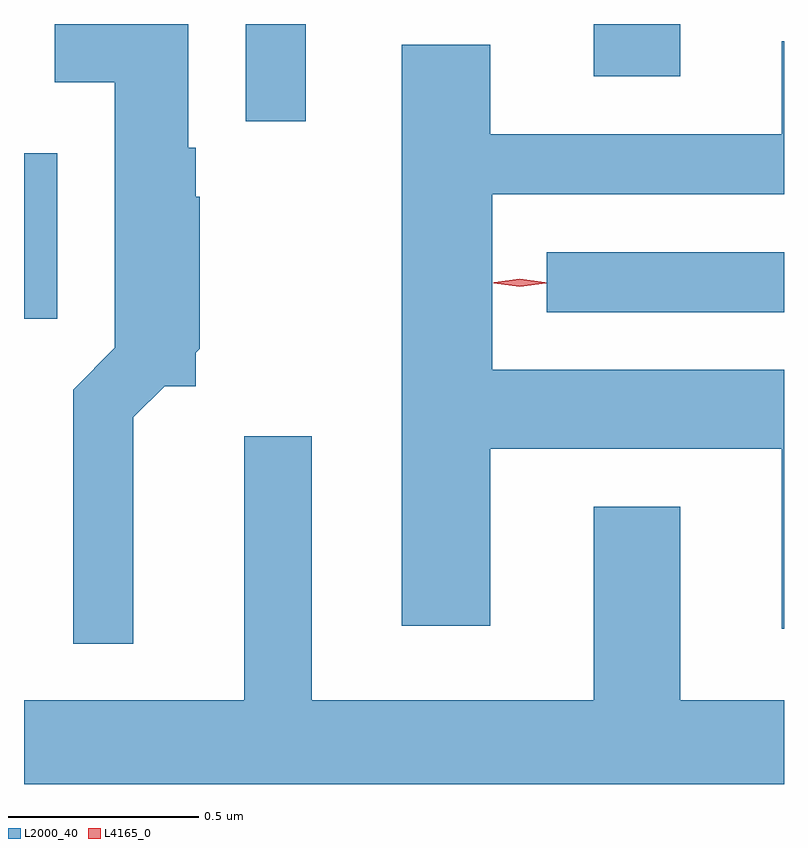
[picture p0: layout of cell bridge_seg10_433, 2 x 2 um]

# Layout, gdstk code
import gdstk
lib = gdstk.Library(unit=1e-6, precision=1e-09)
def R(c, l, rs):  # rectangles x0, y0, x1, y1
    for r in rs: c.add(gdstk.rectangle(r[:2], r[2:], *l))
def P(c, l, *ps):  # polygons
    for p in ps: c.add(gdstk.Polygon(p, *l))
L2000_40 = (2000, 40)
L4165_0 = (4165, 0)

bridge_seg10_433 = lib.new_cell('bridge_seg10_433')
R(bridge_seg10_433, L2000_40, [(1364.632,2110.748,1364.719,2111.184), (1366.008,2110.766,1366.632,2110.924), (1365.216,2111.268,1365.374,2111.524), (1366.131,2111.386,1366.359,2111.524)])
P(bridge_seg10_433, L2000_40, [(1364.919,2110.489),(1365.002,2110.571),(1365.084,2110.571),(1365.084,2110.659),(1365.094,2110.669),(1365.094,2111.07),(1365.084,2111.07),(1365.084,2111.199),(1365.064,2111.199),(1365.064,2111.524),(1364.713,2111.524),(1364.713,2111.371),(1364.871,2111.371),(1364.871,2110.672),(1364.761,2110.562),(1364.761,2109.893),(1364.919,2109.893)],
  [(1366.632,2110.614),(1365.864,2110.614),(1365.864,2111.076),(1366.632,2111.076),(1366.632,2111.478),(1366.626,2111.478),(1366.626,2111.234),(1365.859,2111.234),(1365.859,2111.469),(1365.626,2111.469),(1365.626,2109.941),(1365.859,2109.941),(1365.859,2110.406),(1366.626,2110.406),(1366.626,2109.933),(1366.632,2109.933)],
  [(1366.632,2109.744),(1366.359,2109.744),(1366.359,2110.254),(1366.131,2110.254),(1366.131,2109.744),(1365.389,2109.744),(1365.389,2110.439),(1365.211,2110.439),(1365.211,2109.744),(1364.632,2109.744),(1364.632,2109.524),(1366.632,2109.524)])
P(bridge_seg10_433, L4165_0, [(1365.937,2110.833),(1365.868,2110.842),(1365.867,2110.843),(1365.868,2110.843),(1365.937,2110.853),(1366.006,2110.843),(1366.006,2110.843),(1366.006,2110.842)],
  [(1365.937,2110.834),(1365.871,2110.843),(1365.87,2110.844),(1365.871,2110.844),(1365.937,2110.854),(1366.002,2110.844),(1366.003,2110.844),(1366.002,2110.843)])

lib.write_gds('bridge_seg10_433.gds')
